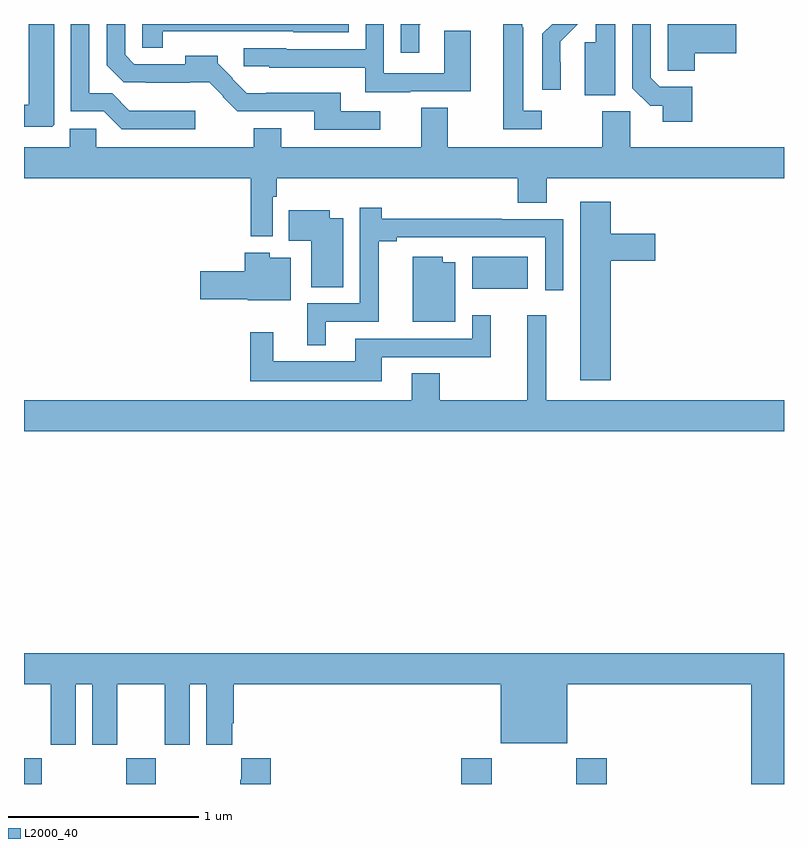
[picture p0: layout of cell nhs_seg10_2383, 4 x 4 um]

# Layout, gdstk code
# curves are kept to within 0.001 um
import gdstk
lib = gdstk.Library(unit=1e-6, precision=1e-09)
def R(c, l, rs):  # rectangles x0, y0, x1, y1
    for r in rs: c.add(gdstk.rectangle(r[:2], r[2:], *l))
def P(c, l, *ps):  # polygons
    for p in ps: c.add(gdstk.Polygon(p, *l))
L2000_40 = (2000, 40)

nhs_seg10_2383 = lib.new_cell('nhs_seg10_2383')
R(nhs_seg10_2383, L2000_40, [(239,1258.5,239.094,1258.636), (239.539,1258.5,239.694,1258.636), (241.301,1258.5,241.461,1258.636), (241.906,1258.5,242.066,1258.636), (241.358,1261.106,241.651,1261.276)])
P(nhs_seg10_2383, L2000_40, [(239.731,1262.462),(239.985,1262.462),(239.985,1262.463),(240.417,1262.463),(240.417,1262.456),(240.708,1262.456),(240.708,1262.5),(239.622,1262.5),(239.622,1262.374),(239.731,1262.374)],
  [(241.726,1262.043),(241.627,1262.043),(241.627,1262.483),(241.623,1262.483),(241.623,1262.5),(241.523,1262.5),(241.523,1261.947),(241.726,1261.947)],
  [(241.081,1262.493),(241.088,1262.5),(240.984,1262.5),(240.984,1262.349),(241.081,1262.349)],
  [(242.531,1262.345),(242.749,1262.345),(242.749,1262.5),(242.387,1262.5),(242.387,1262.362),(242.388,1262.362),(242.388,1262.254),(242.531,1262.254)],
  [(242.113,1262.5),(242.009,1262.5),(242.009,1262.403),(241.952,1262.403),(241.952,1262.125),(242.113,1262.125)],
  [(239.902,1262.044),(239.555,1262.044),(239.464,1262.135),(239.343,1262.135),(239.343,1262.5),(239.247,1262.5),(239.247,1262.04),(239.421,1262.04),(239.514,1261.947),(239.902,1261.947)],
  [(239.158,1261.969),(239.158,1262.5),(239.024,1262.5),(239.024,1262.075),(239,1262.075),(239,1261.959),(239.148,1261.959)],
  [(241.033,1262.145),(241.351,1262.145),(241.351,1262.465),(241.212,1262.465),(241.212,1262.241),(240.894,1262.241),(240.894,1262.5),(240.798,1262.5),(240.798,1262.367),(240.381,1262.367),(240.381,1262.373),(240.156,1262.373),(240.156,1262.277),(240.291,1262.277),(240.291,1262.27),(240.797,1262.27),(240.797,1262.141),(241.033,1262.141)],
  [(241.824,1262.3),(241.823,1262.3),(241.823,1262.406),(241.914,1262.498),(241.914,1262.5),(241.78,1262.5),(241.728,1262.448),(241.728,1262.154),(241.824,1262.154)],
  [(242.516,1262.169),(242.346,1262.169),(242.298,1262.217),(242.298,1262.5),(242.202,1262.5),(242.202,1262.163),(242.295,1262.071),(242.363,1262.071),(242.363,1261.986),(242.516,1261.986)],
  [(240.874,1262.04),(240.667,1262.04),(240.667,1262.137),(240.274,1262.137),(240.274,1262.135),(240.173,1262.135),(240.096,1262.211),(240.099,1262.214),(240.02,1262.293),(240.02,1262.332),(239.849,1262.332),(239.849,1262.289),(239.58,1262.289),(239.532,1262.337),(239.532,1262.5),(239.436,1262.5),(239.436,1262.283),(239.525,1262.194),(239.641,1262.194),(239.641,1262.192),(239.975,1262.193),(240.049,1262.119),(240.047,1262.117),(240.123,1262.04),(240.527,1262.04),(240.527,1261.944),(240.874,1261.944)],
  [(239.379,1261.95),(239.24,1261.95),(239.24,1261.852),(239,1261.852),(239,1261.688),(240.193,1261.688),(240.193,1261.382),(240.309,1261.382),(240.309,1261.592),(240.329,1261.592),(240.329,1261.688),(241.598,1261.688),(241.598,1261.558),(241.75,1261.558),(241.75,1261.688),(243,1261.688),(243,1261.852),(242.19,1261.852),(242.19,1262.04),(242.044,1262.04),(242.044,1261.852),(241.231,1261.852),(241.231,1262.06),(241.091,1262.06),(241.091,1261.852),(240.355,1261.852),(240.355,1261.951),(240.208,1261.951),(240.208,1261.852),(239.379,1261.852)],
  [(242.087,1261.253),(242.323,1261.253),(242.323,1261.395),(242.087,1261.395),(242.087,1261.564),(241.928,1261.564),(241.928,1260.624),(242.087,1260.624)],
  [(240.589,1260.933),(240.866,1260.933),(240.866,1261.357),(240.961,1261.357),(240.961,1261.377),(241.743,1261.377),(241.743,1261.098),(241.839,1261.098),(241.839,1261.473),(241.514,1261.473),(241.514,1261.475),(240.884,1261.475),(240.884,1261.534),(240.768,1261.534),(240.768,1261.029),(240.491,1261.029),(240.491,1260.809),(240.589,1260.809)],
  [(240.679,1261.477),(240.61,1261.477),(240.61,1261.519),(240.394,1261.519),(240.394,1261.358),(240.512,1261.358),(240.512,1261.114),(240.679,1261.114)],
  [(240.403,1261.27),(240.294,1261.27),(240.294,1261.297),(240.161,1261.297),(240.161,1261.199),(239.928,1261.199),(239.928,1261.052),(240.177,1261.052),(240.177,1261.046),(240.403,1261.046)],
  [(241.27,1261.246),(241.204,1261.246),(241.204,1261.276),(241.046,1261.276),(241.046,1260.932),(241.27,1260.932)],
  [(243,1260.52),(241.748,1260.52),(241.748,1260.967),(241.649,1260.967),(241.649,1260.52),(241.188,1260.52),(241.188,1260.662),(241.04,1260.662),(241.04,1260.52),(239,1260.52),(239,1260.356),(243,1260.356)],
  [(240.883,1260.747),(241.457,1260.747),(241.457,1260.967),(241.359,1260.967),(241.359,1260.843),(240.743,1260.843),(240.743,1260.724),(240.313,1260.724),(240.313,1260.877),(240.192,1260.877),(240.192,1260.62),(240.883,1260.62)],
  [(239,1259.024),(239.141,1259.024),(239.141,1258.707),(239.272,1258.707),(239.272,1259.024),(239.36,1259.024),(239.36,1258.707),(239.491,1258.707),(239.491,1259.024),(239.741,1259.024),(239.741,1258.707),(239.872,1258.707),(239.872,1259.024),(239.96,1259.024),(239.96,1258.707),(240.097,1258.707),(240.097,1258.819),(240.104,1258.819),(240.104,1259.024),(241.508,1259.024),(241.508,1258.715),(241.858,1258.715),(241.858,1259.024),(242.828,1259.024),(242.828,1258.5),(243,1258.5),(243,1259.188),(239,1259.188)],
  [(240.299,1258.636),(240.143,1258.636),(240.143,1258.523),(240.139,1258.523),(240.139,1258.5),(240.299,1258.5)])

lib.write_gds('nhs_seg10_2383.gds')
